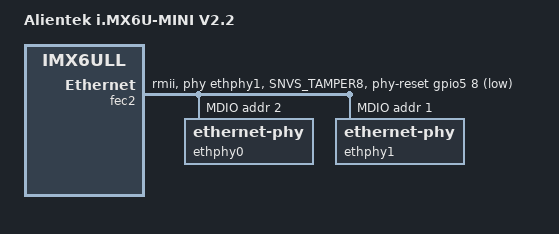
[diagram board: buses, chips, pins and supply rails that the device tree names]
// SPDX-License-Identifier: (GPL-2.0 OR MIT)
//
// Copyright (C) 2016 Freescale Semiconductor, Inc.

/dts-v1/;

#include "imx6ull.dtsi"
#include "imx6ul-14x14-evk.dtsi"
#include "imx6ul-14x14-evk-u-boot.dtsi"

/ {
	model = "Alientek i.MX6U-MINI V2.2";
	compatible = "alientek,imx6u-mini", "fsl,imx6ull";
};

&clks {
	assigned-clocks = <&clks IMX6UL_CLK_PLL3_PFD2>;
	assigned-clock-rates = <320000000>;
};

&can1 {
	/delete-property/ xceiver-supply;
};

&can2 {
	/delete-property/ xceiver-supply;
	status = "disabled";
};

// Release 74hc595 power and gpio5.io[7], gpio5.io[8].
/ {
	aliases {
		/delete-property/ spi5;
	};

	/delete-node/ regulator-can-3v3;
	/delete-node/ spi4;
};

&iomuxc {
	/delete-node/ spi4grp;

	pinctrl_enet1_reset: enet1resetgrp {
		fsl,pins = <MX6UL_PAD_SNVS_TAMPER7__GPIO5_IO07 0x10b0>;
	};

	pinctrl_enet2_reset: enet2resetgrp {
		fsl,pins = <MX6UL_PAD_SNVS_TAMPER8__GPIO5_IO08 0x10b0>;
	};
};

&fec1 {
	pinctrl-names = "default";
	pinctrl-0 = <&pinctrl_enet1 &pinctrl_enet1_reset>;
	phy-mode = "rmii";
	phy-handle = <&ethphy0>;
	phy-reset-gpios = <&gpio5 7 GPIO_ACTIVE_LOW>;
	phy-reset-duration = <200>;
	status = "disabled";
};

&fec2 {
	pinctrl-names = "default";
	pinctrl-0 = <&pinctrl_enet2 &pinctrl_enet2_reset>;
	phy-mode = "rmii";
	phy-handle = <&ethphy1>;
	phy-reset-gpios = <&gpio5 8 GPIO_ACTIVE_LOW>;
	phy-reset-duration = <200>;
	phy-reset-post-delay = <100>;
	status = "okay";

	mdio {
		#address-cells = <1>;
		#size-cells = <0>;

		ethphy0: ethernet-phy@2 {
			reg = <2>;
			/delete-property/ micrel,led-mode;
			clocks = <&clks IMX6UL_CLK_ENET_REF>;
			clock-names = "rmii-ref";
		};

		ethphy1: ethernet-phy@1 {
			reg = <1>;
			/delete-property/ micrel,led-mode;
			clocks = <&clks IMX6UL_CLK_ENET2_REF>;
			clock-names = "rmii-ref";
		};
	};
};
